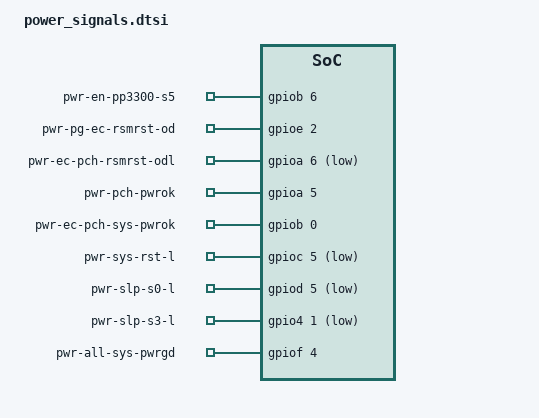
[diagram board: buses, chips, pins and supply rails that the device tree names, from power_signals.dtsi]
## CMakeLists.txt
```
# Copyright 2022 The ChromiumOS Authors
# Use of this source code is governed by a BSD-style license that can be
# found in the LICENSE file.

cmake_minimum_required(VERSION 3.20.5)
find_package(Zephyr REQUIRED HINTS "${ZEPHYR_BASE}")

zephyr_include_directories("${CMAKE_CURRENT_SOURCE_DIR}/include")
zephyr_library_sources_ifdef(CONFIG_AP_PWRSEQ "src/board_power.c")
zephyr_library_sources_ifdef(CONFIG_PLATFORM_EC_BATTERY "src/battery_present.c")
zephyr_library_sources_ifdef(CONFIG_BOARD_REX_USBC_CONFIG "src/usbc_config.c")
zephyr_library_sources_ifdef(CONFIG_PLATFORM_EC_USBC "src/usb_pd_policy.c")
if(DEFINED CONFIG_PLATFORM_EC_USB_PD_TBT_COMPAT_MODE)
  if(DEFINED CONFIG_PLATFORM_EC_USB_PD_ALT_MODE_UFP)
    zephyr_library_sources("src/usbc_tbt_compat.c")
  endif()
endif()

if(DEFINED CONFIG_BOARD_REX)
	project(rex)
	add_subdirectory(rex)
elseif(DEFINED CONFIG_BOARD_SCREEBO)
	project(screebo)
	add_subdirectory(screebo)
elseif(DEFINED CONFIG_BOARD_KANIX)
	project(kanix)
	add_subdirectory(kanix)
elseif(DEFINED CONFIG_BOARD_KARIS)
	project(karis)
	add_subdirectory(karis)
elseif(DEFINED CONFIG_BOARD_INTEL_ISH_5_6_0)
	project(rex-ish)
	add_subdirectory(rex-ish)
endif()
```

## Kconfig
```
# Copyright 2022 The ChromiumOS Authors
# Use of this source code is governed by a BSD-style license that can be
# found in the LICENSE file.

config BOARD_REX
	bool "Google Rex Baseboard"
	select BOARD_HAS_INVALID_CHIP_DEVICE_ID_WORKAROUND
	help
	  Build Google Rex reference board.  The board uses Nuvoton
	  NPCX9 chip as the EC.

config BOARD_SCREEBO
	bool "Google Screebo Board"
	select BOARD_HAS_INVALID_CHIP_DEVICE_ID_WORKAROUND
	help
	  Build Google Screebo variant board. The board uses Nuvoton
	  NPCX9 chip as the EC.

config BOARD_KARIS
	bool "Google Karis Board"
	help
	  Build Google Karis variant board. The board uses Nuvoton
	  NPCX9 chip as the EC.

config BOARD_REX_ISH_EC
	bool "Google rex-ish-ec Board"
	select BOARD_HAS_INVALID_CHIP_DEVICE_ID_WORKAROUND
	help
	  Build Google rex variant board; this board has motion sense
	  task removed; used on ISH enabled board.

config BOARD_HAS_INVALID_CHIP_DEVICE_ID_WORKAROUND
	bool
	help
	  Workaround the board of the Rex family which uses the sample chip
	  with the incorrect device ID.

config BOARD_REX_USBC_CONFIG
	bool "Rex board usbc configuration"
	default y
	help
	  Include baseboard rex usbc_config.c into binary. The usbc
	  usbc configuration is that TCPC C0 is NCT38XX and BC1.2
	  exists. Additionally, IOEX pins are defined.

module = REX
module-str = Rex board-specific code
source "subsys/logging/Kconfig.template.log_config"

source "Kconfig.zephyr"
```

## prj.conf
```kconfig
# Copyright 2022 The ChromiumOS Authors
# Use of this source code is governed by a BSD-style license that can be
# found in the LICENSE file.

CONFIG_PLATFORM_EC=y
CONFIG_CROS_EC=y
CONFIG_SHIMMED_TASKS=y
CONFIG_SYSCON=y
# Enable during development
CONFIG_LTO=n
CONFIG_PLATFORM_EC_SYSTEM_UNLOCKED=y
CONFIG_PLATFORM_EC_BOARD_RESET_AFTER_POWER_ON=y

# Shell Commands
CONFIG_SHELL_HELP=y
CONFIG_SHELL_HISTORY=y
CONFIG_SHELL_TAB=y
CONFIG_SHELL_TAB_AUTOCOMPLETION=y
CONFIG_KERNEL_SHELL=y

# Logging
CONFIG_LOG=y
CONFIG_LOG_MODE_MINIMAL=y

# Disable default features we don't want in a minimal example.
CONFIG_PLATFORM_EC_BACKLIGHT_LID=y
CONFIG_PLATFORM_EC_SWITCH=y
CONFIG_PLATFORM_EC_VBOOT_EFS2=y

# Application processor; communicates with EC via eSPI
CONFIG_AP=y
CONFIG_ESPI=y
CONFIG_PLATFORM_EC_HOST_INTERFACE_ESPI_VW_SLP_S3=y
CONFIG_PLATFORM_EC_HOST_INTERFACE_ESPI_VW_SLP_S4=y
CONFIG_PLATFORM_EC_HOST_INTERFACE_ESPI_VW_SLP_S5=y
CONFIG_PLATFORM_EC_HOSTCMD=y
# Disabling this until temp sensor support is in
CONFIG_PLATFORM_EC_THROTTLE_AP=n
CONFIG_PLATFORM_EC_PORT80=y

# Power Sequecing
CONFIG_AP_X86_INTEL_MTL=y
CONFIG_X86_NON_DSX_PWRSEQ_MTL=y
CONFIG_X86_NON_DSX_PWRSEQ_HOST_CMD=y
# TODO (b/240434243): This may be needed, but using eSPI VW for now
CONFIG_PLATFORM_EC_POWERSEQ_SLP_S3_L_OVERRIDE=n
CONFIG_PLATFORM_EC_POWERSEQ_PP5000_CONTROL=n

# Zephyr Inbuilt AP Power Sequencing Config
CONFIG_AP_PWRSEQ=y
CONFIG_X86_NON_DSX_PWRSEQ_CONSOLE=y
CONFIG_AP_PWRSEQ_S0IX=y

# I2C
CONFIG_PLATFORM_EC_HOSTCMD_I2C_CONTROL=y

# PWM
CONFIG_PWM=y

# Temperature sensors
CONFIG_SENSOR=y
CONFIG_PLATFORM_EC_TEMP_SENSOR=y
CONFIG_PLATFORM_EC_THERMISTOR=y
CONFIG_PLATFORM_EC_TEMP_SENSOR_POWER=y

# CBI EEPROM support
CONFIG_EEPROM=y
CONFIG_PLATFORM_EC_BOARD_VERSION_CBI=y
CONFIG_PLATFORM_EC_BYPASS_CBI_EEPROM_WP_CHECK=y

# LED
CONFIG_PLATFORM_EC_LED_DT=y

# Battery
CONFIG_PLATFORM_EC_BATTERY_SMART=y
CONFIG_PLATFORM_EC_BATTERY_FUEL_GAUGE=y
CONFIG_PLATFORM_EC_BATTERY_CUT_OFF=y
CONFIG_PLATFORM_EC_BATTERY_PRESENT_GPIO=y
CONFIG_PLATFORM_EC_BATTERY_REVIVE_DISCONNECT=y

# Charger
CONFIG_PLATFORM_EC_CHARGER_DISCHARGE_ON_AC=y
CONFIG_PLATFORM_EC_CHARGER_INPUT_CURRENT=512
CONFIG_PLATFORM_EC_CHARGER_ISL9241=y
CONFIG_PLATFORM_EC_CHARGER_SENSE_RESISTOR=5
CONFIG_PLATFORM_EC_CHARGER_SENSE_RESISTOR_AC=10
CONFIG_PLATFORM_EC_CHARGER_MIN_POWER_MW_FOR_POWER_ON=30000
CONFIG_PLATFORM_EC_CHARGER_MIN_POWER_MW_FOR_POWER_ON_WITH_BATT=15000

# USBC
CONFIG_PLATFORM_EC_USBC_PPC=y
CONFIG_PLATFORM_EC_USBC_PPC_NX20P3483=y
CONFIG_PLATFORM_EC_USBC_PPC_SYV682X=y
CONFIG_PLATFORM_EC_USBC_PPC_SYV682C=y
CONFIG_PLATFORM_EC_USBC_RETIMER_INTEL_HB=y
CONFIG_PLATFORM_EC_USBC_VCONN=y

CONFIG_PLATFORM_EC_USB_DRP_ACC_TRYSRC=y
CONFIG_PLATFORM_EC_USB_PD_VBUS_DETECT_TCPC=y
CONFIG_PLATFORM_EC_USB_PD_DISCHARGE_PPC=y
CONFIG_PLATFORM_EC_USB_PD_FRS=y
CONFIG_PLATFORM_EC_USB_PD_FRS_PPC=y
CONFIG_PLATFORM_EC_USB_PD_REV30=y
CONFIG_PLATFORM_EC_USB_PD_TCPC_LOW_POWER=y
CONFIG_PLATFORM_EC_USB_PD_TCPM_TCPCI=y
CONFIG_PLATFORM_EC_USB_PD_TCPM_NCT38XX=y
CONFIG_PLATFORM_EC_USB_PD_TCPM_PS8815=y
CONFIG_PLATFORM_EC_USB_PD_TRY_SRC=y
CONFIG_PLATFORM_EC_USB_PD_DUAL_ROLE_AUTO_TOGGLE=y
CONFIG_PLATFORM_EC_USB_PD_TBT_COMPAT_MODE=y
CONFIG_PLATFORM_EC_USB_PD_USB32_DRD=y
CONFIG_PLATFORM_EC_USB_PD_USB4=y
CONFIG_PLATFORM_EC_USB_PD_VBUS_MEASURE_CHARGER=y
CONFIG_PLATFORM_EC_USB_PID=0x504D

# BC 1.2
CONFIG_PLATFORM_EC_BC12_DETECT_PI3USB9201=y

#USB Mux
CONFIG_PLATFORM_EC_USB_MUX_VIRTUAL=y
CONFIG_PLATFORM_EC_USB_MUX_TASK=y

# External power
CONFIG_PLATFORM_EC_EXTPOWER_GPIO=y

# Standard shimmed features
CONFIG_PLATFORM_EC_POWER_BUTTON=y
CONFIG_PLATFORM_EC_LID_SWITCH=y

# Keyboard support
CONFIG_PLATFORM_EC_KEYBOARD_PROTOCOL_8042=y
# Column 2 is driven through the GSC, which inverts the signal going through it
CONFIG_PLATFORM_EC_KEYBOARD_COL2_INVERTED=y

# MKBP event
CONFIG_PLATFORM_EC_MKBP_EVENT=y
CONFIG_PLATFORM_EC_MKBP_INPUT_DEVICES=y
CONFIG_PLATFORM_EC_MKBP_USE_GPIO_AND_HOST_EVENT=y

# Sensors console command
CONFIG_PLATFORM_EC_CONSOLE_CMD_ACCELS=y
CONFIG_PLATFORM_EC_CONSOLE_CMD_ACCEL_INFO=y
CONFIG_PLATFORM_EC_CONSOLE_CMD_I2C_SPEED=y

# Sensors
CONFIG_SENSOR=y
CONFIG_SENSOR_SHELL=n
CONFIG_PLATFORM_EC_MOTIONSENSE=y
CONFIG_PLATFORM_EC_ACCEL_FIFO=y
CONFIG_PLATFORM_EC_DYNAMIC_MOTION_SENSOR_COUNT=y
CONFIG_PLATFORM_EC_GMR_TABLET_MODE=y
CONFIG_PLATFORM_EC_LID_ANGLE=y
CONFIG_PLATFORM_EC_LID_ANGLE_UPDATE=y
CONFIG_PLATFORM_EC_SENSOR_TIGHT_TIMESTAMPS=y
CONFIG_PLATFORM_EC_TABLET_MODE=y
CONFIG_PLATFORM_EC_TABLET_MODE_SWITCH=y

# Sensor Drivers
CONFIG_PLATFORM_EC_ACCELGYRO_LSM6DSO=y
CONFIG_PLATFORM_EC_ACCEL_LIS2DW12=y
CONFIG_PLATFORM_EC_ALS_TCS3400=y
```

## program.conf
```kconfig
# Copyright 2022 The ChromiumOS Authors
# Use of this source code is governed by a BSD-style license that can be
# found in the LICENSE file.

CONFIG_PLATFORM_EC=y
CONFIG_CROS_EC=y
CONFIG_SYSCON=y

# Shell Commands
CONFIG_SHELL_HELP=n
CONFIG_SHELL_HISTORY=y
CONFIG_SHELL_TAB=y
CONFIG_SHELL_TAB_AUTOCOMPLETION=y
CONFIG_KERNEL_SHELL=y

# Disable default features we don't want in a minimal example.
CONFIG_PLATFORM_EC_BACKLIGHT_LID=y
CONFIG_PLATFORM_EC_SWITCH=y
CONFIG_PLATFORM_EC_VBOOT_EFS2=y

# Application processor; communicates with EC via eSPI
CONFIG_AP=y
CONFIG_ESPI=y
CONFIG_PLATFORM_EC_HOST_INTERFACE_ESPI_VW_SLP_S4=y
CONFIG_PLATFORM_EC_HOST_INTERFACE_ESPI_VW_SLP_S5=y
CONFIG_PLATFORM_EC_HOSTCMD=y
CONFIG_HCDEBUG_OFF=y
# Disabling this until temp sensor support is in
CONFIG_PLATFORM_EC_THROTTLE_AP=n
CONFIG_PLATFORM_EC_PORT80=y

# Power Sequecing
CONFIG_AP_X86_INTEL_MTL=y
CONFIG_X86_NON_DSX_PWRSEQ_MTL=y
CONFIG_X86_NON_DSX_PWRSEQ_HOST_CMD=y
# TODO (b/240434243): This may be needed, but using eSPI VW for now
CONFIG_PLATFORM_EC_POWERSEQ_SLP_S3_L_OVERRIDE=n
CONFIG_PLATFORM_EC_POWERSEQ_PP5000_CONTROL=n

# Zephyr Inbuilt AP Power Sequencing Config
CONFIG_X86_NON_DSX_PWRSEQ_CONSOLE=y
CONFIG_AP_PWRSEQ_S0IX=y

# Disable driver mode because Rex was brought up without it and changing
# would be risky.
CONFIG_AP_PWRSEQ_DRIVER=n

# I2C
CONFIG_PLATFORM_EC_HOSTCMD_I2C_CONTROL=y

# Temperature sensors
CONFIG_PLATFORM_EC_TEMP_SENSOR_POWER=y

# Battery
CONFIG_PLATFORM_EC_BATTERY_FUEL_GAUGE=y
CONFIG_PLATFORM_EC_BATTERY_CUT_OFF=y
CONFIG_PLATFORM_EC_BATTERY_REVIVE_DISCONNECT=y
CONFIG_PLATFORM_EC_BATTERY_PRESENT_CUSTOM=y
CONFIG_PLATFORM_EC_BATTERY_HW_PRESENT_CUSTOM=y

# Charger
CONFIG_PLATFORM_EC_CHARGER_DISCHARGE_ON_AC=y
CONFIG_PLATFORM_EC_CHARGER_DEFAULT_CURRENT_LIMIT=512
CONFIG_PLATFORM_EC_CHARGER_ISL9241=y
CONFIG_PLATFORM_EC_CHARGER_SENSE_RESISTOR=5
CONFIG_PLATFORM_EC_CHARGER_SENSE_RESISTOR_AC=10
CONFIG_PLATFORM_EC_CHARGER_MIN_POWER_MW_FOR_POWER_ON=30000
CONFIG_PLATFORM_EC_CHARGER_MIN_POWER_MW_FOR_POWER_ON_WITH_BATT=15000

# USBC
CONFIG_PLATFORM_EC_USBC_PPC=y
CONFIG_PLATFORM_EC_USBC_PPC_SYV682C=y
# TODO(b/241340453): after FRS fixed, enable this config
CONFIG_PLATFORM_EC_USBC_PPC_SYV682X_SMART_DISCHARGE=n
CONFIG_PLATFORM_EC_USBC_VCONN=y

CONFIG_PLATFORM_EC_USB_DRP_ACC_TRYSRC=y
CONFIG_PLATFORM_EC_USB_PD_VBUS_DETECT_TCPC=y
CONFIG_PLATFORM_EC_USB_PD_DISCHARGE_PPC=y
CONFIG_PLATFORM_EC_USB_PD_FRS=y
CONFIG_PLATFORM_EC_USB_PD_FRS_PPC=y
CONFIG_PLATFORM_EC_USB_PD_LOGGING=y
CONFIG_PLATFORM_EC_USB_PD_REV30=y
CONFIG_PLATFORM_EC_USB_PD_TCPC_LOW_POWER=y
CONFIG_PLATFORM_EC_USB_PD_TCPM_PS8815=y
CONFIG_PLATFORM_EC_USB_PD_TRY_SRC=y
CONFIG_PLATFORM_EC_USB_PD_DUAL_ROLE_AUTO_TOGGLE=y
CONFIG_PLATFORM_EC_USB_PD_TBT_COMPAT_MODE=y
CONFIG_PLATFORM_EC_USB_PD_USB32_DRD=y
CONFIG_PLATFORM_EC_USB_PD_USB4=y
CONFIG_PLATFORM_EC_USB_PD_REQUIRE_AP_MODE_ENTRY=y
CONFIG_PLATFORM_EC_USB_PD_DATA_RESET_MSG=y
CONFIG_PLATFORM_EC_USB_PD_VBUS_MEASURE_CHARGER=y
CONFIG_PLATFORM_EC_USB_PID=0x504D

# USBC DP2.1
CONFIG_PLATFORM_EC_USB_PD_DP21_MODE=y

# USB Mux
CONFIG_PLATFORM_EC_USB_MUX_TASK=y

# External power
CONFIG_PLATFORM_EC_EXTPOWER_GPIO=y

# Standard shimmed features
CONFIG_PLATFORM_EC_POWER_BUTTON=y
CONFIG_PLATFORM_EC_LID_SWITCH=y

# Keyboard support
CONFIG_PLATFORM_EC_KEYBOARD_PROTOCOL_8042=y
# Column 2 is driven through the GSC, which inverts the signal going through it
CONFIG_PLATFORM_EC_KEYBOARD_COL2_INVERTED=y
CONFIG_PLATFORM_EC_VOLUME_BUTTONS=y

# MKBP event
CONFIG_PLATFORM_EC_MKBP_EVENT=y
CONFIG_PLATFORM_EC_MKBP_INPUT_DEVICES=y
CONFIG_PLATFORM_EC_MKBP_USE_GPIO_AND_HOST_EVENT=y

# Sensors console command
CONFIG_PLATFORM_EC_CONSOLE_CMD_ACCELS=y
CONFIG_PLATFORM_EC_CONSOLE_CMD_ACCEL_INFO=y
CONFIG_PLATFORM_EC_CONSOLE_CMD_I2C_SPEED=y

# Sensors
CONFIG_PLATFORM_EC_ACCEL_FIFO=y
CONFIG_PLATFORM_EC_DYNAMIC_MOTION_SENSOR_COUNT=y
CONFIG_PLATFORM_EC_GMR_TABLET_MODE=y
CONFIG_PLATFORM_EC_LID_ANGLE=y
CONFIG_PLATFORM_EC_LID_ANGLE_UPDATE=y
CONFIG_PLATFORM_EC_SENSOR_TIGHT_TIMESTAMPS=y
CONFIG_PLATFORM_EC_TABLET_MODE=y
CONFIG_PLATFORM_EC_TABLET_MODE_SWITCH=y

# Sensor Drivers
CONFIG_PLATFORM_EC_ACCEL_LIS2DW12=y

# System Boot Time
CONFIG_SYSTEM_BOOT_TIME_LOGGING=y

# Limit I2C pass-through to allowed busses/devices
CONFIG_PLATFORM_EC_I2C_PASSTHRU_RESTRICTED=y

# Upstream Zephyr Host Command
CONFIG_EC_HOST_CMD=y
```

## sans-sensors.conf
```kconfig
# Copyright 2023 The ChromiumOS Authors
# Use of this source code is governed by a BSD-style license that can be
# found in the LICENSE file.

# Sensors console command
CONFIG_PLATFORM_EC_CONSOLE_CMD_ACCELS=n
CONFIG_PLATFORM_EC_CONSOLE_CMD_ACCEL_INFO=n
CONFIG_PLATFORM_EC_CONSOLE_CMD_I2C_SPEED=n

# Sensors
CONFIG_PLATFORM_EC_MOTIONSENSE=n
CONFIG_PLATFORM_EC_ACCEL_FIFO=n
CONFIG_PLATFORM_EC_DYNAMIC_MOTION_SENSOR_COUNT=n
CONFIG_PLATFORM_EC_GMR_TABLET_MODE=n
CONFIG_PLATFORM_EC_LID_ANGLE=n
CONFIG_PLATFORM_EC_LID_ANGLE_UPDATE=n
CONFIG_PLATFORM_EC_SENSOR_TIGHT_TIMESTAMPS=n
CONFIG_PLATFORM_EC_TABLET_MODE=n
CONFIG_PLATFORM_EC_TABLET_MODE_SWITCH=n

# Sensor Drivers
CONFIG_PLATFORM_EC_ACCELGYRO_LSM6DSO=n
CONFIG_PLATFORM_EC_ACCEL_LIS2DW12=n
CONFIG_PLATFORM_EC_ALS_TCS3400=n
```

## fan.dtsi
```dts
/* Copyright 2022 The ChromiumOS Authors
 * Use of this source code is governed by a BSD-style license that can be
 * found in the LICENSE file.
 */

/ {
	fans {
		compatible = "cros-ec,fans";

		fan0: fan_0 {
			pwms = <&pwm5 0 PWM_KHZ(1) PWM_POLARITY_NORMAL>;
			rpm-min = <2200>;
			rpm-start = <2200>;
			rpm-max = <4200>;
			tach = <&tach1>;
			enable-gpio = <&gpio_en_pp5000_fan>;
		};
	};
};

&pwm5_gpb7 {
	drive-open-drain;
};
```

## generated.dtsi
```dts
/* Copyright 2023 The ChromiumOS Authors
 * Use of this source code is governed by a BSD-style license that can be
 * found in the LICENSE file.
 *
 * This file is auto-generated - do not edit!
 */

/ {

	named-adc-channels {
		compatible = "named-adc-channels";

		adc_temp_sensor_1: temp_sensor_1 {
			enum-name = "ADC_TEMP_SENSOR_1_DDR_SOC";
			io-channels = <&adc0 0>;
		};
		adc_temp_sensor_2: temp_sensor_2 {
			enum-name = "ADC_TEMP_SENSOR_2_AMBIENT";
			io-channels = <&adc0 1>;
		};
		adc_temp_sensor_3: temp_sensor_3 {
			enum-name = "ADC_TEMP_SENSOR_3_CHARGER";
			io-channels = <&adc0 8>;
		};
		adc_temp_sensor_4: temp_sensor_4 {
			enum-name = "ADC_TEMP_SENSOR_4_WWAN";
			io-channels = <&adc0 7>;
		};
	};

	named-gpios {
		compatible = "named-gpios";

		gpio_acok_od: acok_od {
			gpios = <&gpio0 0 GPIO_INPUT>;
			enum-name = "GPIO_AC_PRESENT";
		};
		gpio_ccd_mode_odl: ccd_mode_odl {
			gpios = <&gpioe 5 GPIO_INPUT>;
			enum-name = "GPIO_CCD_MODE_ODL";
		};
		gpio_cpu_c10_gate_l: cpu_c10_gate_l {
			gpios = <&gpioa 7 GPIO_INPUT>;
		};
		gpio_ec_accel_int_r_l: ec_accel_int_r_l {
			gpios = <&gpio8 1 GPIO_INPUT>;
		};
		gpio_ec_als_rgb_int_r_l: ec_als_rgb_int_r_l {
			gpios = <&gpiod 4 GPIO_INPUT_PULL_UP>;
		};
		gpio_ec_batt_pres_odl: ec_batt_pres_odl {
			gpios = <&gpioa 3 GPIO_INPUT>;
			enum-name = "GPIO_BATT_PRES_ODL";
		};
		gpio_ec_cbi_wp: ec_cbi_wp {
			gpios = <&gpio7 3 GPIO_OUTPUT>;
		};
		gpio_ec_edp_bl_en: ec_edp_bl_en {
			gpios = <&gpiod 3 GPIO_OUTPUT>;
			enum-name = "GPIO_ENABLE_BACKLIGHT";
		};
		gpio_ec_gsc_packet_mode: ec_gsc_packet_mode {
			gpios = <&gpio7 5 GPIO_OUTPUT>;
			enum-name = "GPIO_PACKET_MODE_EN";
		};
		gpio_ec_imu_int_r_l: ec_imu_int_r_l {
			gpios = <&gpio5 6 GPIO_INPUT_PULL_UP>;
		};
		gpio_ec_kb_bl_en_l: ec_kb_bl_en_l {
			gpios = <&gpio8 6 GPIO_OUTPUT>;
		};
		gpio_ec_kso_02_inv: ec_kso_02_inv {
			gpios = <&gpio1 7 (GPIO_OUTPUT | GPIO_ACTIVE_HIGH)>;
			enum-name = "GPIO_KBD_KSO2";
		};
		gpio_ec_mech_pwr_btn_l: ec_mech_pwr_btn_l {
			gpios = <&gpio0 2 GPIO_INPUT>;
			enum-name = "GPIO_POWER_BUTTON_L";
		};
		gpio_ec_prochot_in_l: ec_prochot_in_l {
			gpios = <&gpiof 0 GPIO_INPUT>;
		};
		gpio_ec_prochot_odl: ec_prochot_odl {
			gpios = <&gpio6 3 GPIO_ODR_HIGH>;
		};
		gpio_ec_rst_r_odl: ec_rst_r_odl {
			gpios = <&gpio7 7 GPIO_INPUT>;
		};
		gpio_ec_soc_int_odl: ec_soc_int_odl {
			gpios = <&gpio7 0 GPIO_ODR_LOW>;
			enum-name = "GPIO_EC_INT_L";
		};
		gpio_ec_soc_pwr_btn_odl: ec_soc_pwr_btn_odl {
			gpios = <&gpioc 1 GPIO_ODR_LOW>;
			enum-name = "GPIO_PCH_PWRBTN_L";
		};
		gpio_ec_soc_rsmrst_l: ec_soc_rsmrst_l {
			gpios = <&gpioa 6 GPIO_OUTPUT>;
		};
		gpio_ec_soc_rtcrst: ec_soc_rtcrst {
			gpios = <&gpio7 6 GPIO_ODR_HIGH>;
		};
		gpio_ec_soc_wake_r_odl: ec_soc_wake_r_odl {
			gpios = <&gpioc 0 GPIO_ODR_LOW>;
		};
		gpio_ec_spare_gpio01: ec_spare_gpio01 {
			gpios = <&gpio0 1 GPIO_INPUT_PULL_UP>;
		};
		gpio_ec_spare_gpio42: ec_spare_gpio42 {
			gpios = <&gpio4 2 GPIO_OUTPUT>;
		};
		gpio_ec_spare_gpio66: ec_spare_gpio66 {
			gpios = <&gpio6 6 GPIO_OUTPUT>;
		};
		gpio_ec_spare_gpio94: ec_spare_gpio94 {
			gpios = <&gpio9 4 GPIO_OUTPUT>;
		};
		gpio_ec_spare_gpioa2: ec_spare_gpioa2 {
			gpios = <&gpioa 2 GPIO_OUTPUT>;
		};
		gpio_ec_spare_gpioa4: ec_spare_gpioa4 {
			gpios = <&gpioa 4 GPIO_OUTPUT>;
		};
		gpio_ec_spare_gpiob1: ec_spare_gpiob1 {
			gpios = <&gpiob 1 GPIO_OUTPUT>;
		};
		gpio_ec_spare_gpioc7: ec_spare_gpioc7 {
			gpios = <&gpioc 7 GPIO_OUTPUT>;
		};
		gpio_ec_spare_gpo32: ec_spare_gpo32 {
			gpios = <&gpio3 2 GPIO_OUTPUT>;
		};
		gpio_ec_spare_gpo35: ec_spare_gpo35 {
			gpios = <&gpio3 5 GPIO_OUTPUT>;
		};
		gpio_ec_voldn_btn_odl: ec_voldn_btn_odl {
			gpios = <&gpio9 3 GPIO_INPUT_PULL_UP>;
			enum-name = "GPIO_VOLUME_DOWN_L";
		};
		gpio_ec_volup_btn_odl: ec_volup_btn_odl {
			gpios = <&gpio9 7 GPIO_INPUT_PULL_UP>;
			enum-name = "GPIO_VOLUME_UP_L";
		};
		gpio_ec_wp_l: ec_wp_l {
			gpios = <&gpioa 1 (GPIO_INPUT | GPIO_ACTIVE_LOW)>;
		};
		gpio_en_pp5000_fan: en_pp5000_fan {
			gpios = <&gpio6 1 GPIO_OUTPUT>;
		};
		gpio_en_pp5000_usba_r: en_pp5000_usba_r {
			gpios = <&gpiod 7 GPIO_OUTPUT>;
		};
		gpio_en_s5_rails: en_s5_rails {
			gpios = <&gpiob 6 GPIO_ODR_HIGH>;
			enum-name = "GPIO_TEMP_SENSOR_POWER";
		};
		gpio_en_z1_rails: en_z1_rails {
			gpios = <&gpio8 5 GPIO_OUTPUT>;
		};
		gpio_imvp92_vrrdy_od: imvp92_vrrdy_od {
			gpios = <&gpio4 3 GPIO_INPUT>;
		};
		gpio_led_1_l: led_1_l {
			gpios = <&gpioc 4 GPIO_OUTPUT>;
		};
		gpio_led_2_l: led_2_l {
			gpios = <&gpioc 3 GPIO_OUTPUT>;
		};
		gpio_led_3_l: led_3_l {
			gpios = <&gpioc 2 GPIO_OUTPUT>;
		};
		gpio_led_4_l: led_4_l {
			gpios = <&gpio6 0 GPIO_OUTPUT>;
		};
		gpio_lid_open: lid_open {
			gpios = <&gpiod 2 GPIO_INPUT>;
			enum-name = "GPIO_LID_OPEN";
		};
		gpio_seq_ec_all_sys_pg_od: seq_ec_all_sys_pg_od {
			gpios = <&gpiof 4 GPIO_INPUT>;
		};
		gpio_seq_ec_rsmrst_odl: seq_ec_rsmrst_odl {
			gpios = <&gpioe 2 GPIO_INPUT>;
		};
		gpio_slp_s3_ls_l: slp_s3_ls_l {
			gpios = <&gpio4 1 GPIO_INPUT>;
		};
		gpio_sochot_odl: sochot_odl {
			gpios = <&gpio9 6 GPIO_INPUT>;
		};
		gpio_soc_pwrok: soc_pwrok {
			gpios = <&gpioa 5 GPIO_OUTPUT>;
		};
		gpio_sys_pwrok: sys_pwrok {
			gpios = <&gpiob 0 GPIO_OUTPUT>;
		};
		gpio_sys_rst_odl: sys_rst_odl {
			gpios = <&gpioc 5 GPIO_INPUT>;
		};
		gpio_sys_slp_s0ix_3v3_l: sys_slp_s0ix_3v3_l {
			gpios = <&gpiod 5 GPIO_INPUT>;
		};
		gpio_tablet_mode_l: tablet_mode_l {
			gpios = <&gpio9 5 GPIO_INPUT_PULL_UP>;
			enum-name = "GPIO_TABLET_MODE_L";
		};
		gpio_usb_c0_bc12_int_odl: usb_c0_bc12_int_odl {
			gpios = <&gpioc 6 GPIO_INPUT>;
			enum-name = "GPIO_USB_C0_BC12_INT_ODL";
		};
		gpio_usb_c0_ppc_int_odl: usb_c0_ppc_int_odl {
			gpios = <&gpio6 2 GPIO_INPUT>;
			enum-name = "GPIO_USB_C0_PPC_INT_ODL";
		};
		gpio_usb_c0_rt_3p3_sx_en: usb_c0_rt_3p3_sx_en {
			gpios = <&gpio0 3 GPIO_ODR_LOW>;
		};
		gpio_usb_c0_rt_int_odl: usb_c0_rt_int_odl {
			gpios = <&gpioa 0 GPIO_INPUT>;
		};
		gpio_usb_c0_tcpc_int_odl: usb_c0_tcpc_int_odl {
			gpios = <&gpioe 0 (GPIO_INPUT | GPIO_ACTIVE_LOW)>;
			enum-name = "GPIO_USB_C0_TCPC_INT_ODL";
		};
		gpio_usb_c0_tcpc_rst_odl: usb_c0_tcpc_rst_odl {
			gpios = <&gpio6 7 GPIO_ODR_HIGH>;
		};
		gpio_usb_c1_bc12_int_odl: usb_c1_bc12_int_odl {
			gpios = <&gpio5 0 GPIO_INPUT>;
			enum-name = "GPIO_USB_C1_BC12_INT_ODL";
		};
		gpio_usb_c1_frs_en: usb_c1_frs_en {
			gpios = <&gpio8 3 GPIO_ODR_HIGH>;
		};
		gpio_usb_c1_ppc_int_odl: usb_c1_ppc_int_odl {
			gpios = <&gpiof 5 GPIO_INPUT>;
			enum-name = "GPIO_USB_C1_PPC_INT_ODL";
		};
		gpio_usb_c1_rst_odl: usb_c1_rst_odl {
			gpios = <&gpio3 7 GPIO_ODR_LOW>;
		};
		gpio_usb_c1_rt_int_odl: usb_c1_rt_int_odl {
			gpios = <&gpio7 2 GPIO_INPUT_PULL_UP>;
		};
		gpio_usb_c1_rt_rst_r_odl: usb_c1_rt_rst_r_odl {
			gpios = <&gpio7 4 GPIO_ODR_HIGH>;
		};
		gpio_usb_c1_tcpc_int_odl: usb_c1_tcpc_int_odl {
			gpios = <&gpio3 4 (GPIO_INPUT | GPIO_ACTIVE_LOW)>;
			enum-name = "GPIO_USB_C1_TCPC_INT_ODL";
		};
	};

	named-i2c-ports {
		compatible = "named-i2c-ports";

		i2c_ec_i2c_sensor_scl_r: ec_i2c_sensor_scl_r {
			i2c-port = <&i2c0_0>;
			enum-names = "I2C_PORT_SENSOR";
		};
		i2c_ec_i2c_usb_c0_tcp: ec_i2c_usb_c0_tcp {
			i2c-port = <&i2c1_0>;
			enum-names = "I2C_PORT_USB_C0_TCPC";
		};
		i2c_ec_i2c_usb_c0_ppc_b: ec_i2c_usb_c0_ppc_b {
			i2c-port = <&i2c2_0>;
			enum-names = "I2C_PORT_PPC0";
		};
		i2c_ec_i2c_usb_c0_rt: ec_i2c_usb_c0_rt {
			i2c-port = <&i2c3_0>;
			enum-names = "I2C_PORT_USB_C0_RT";
		};
		i2c_ec_i2c_usb_c1_tcp: ec_i2c_usb_c1_tcp {
			i2c-port = <&i2c4_1>;
			enum-names = "I2C_PORT_USB_C1_TCPC";
		};
		i2c_ec_i2c_bat: ec_i2c_bat {
			i2c-port = <&i2c5_0>;
			enum-names = "I2C_PORT_BATTERY";
		};
		i2c_ec_i2c_usb_c1_mix: ec_i2c_usb_c1_mix {
			i2c-port = <&i2c6_1>;
			enum-names = "I2C_PORT_USB_1_MIX";
		};
		i2c_ec_i2c_mi: ec_i2c_mi {
			i2c-port = <&i2c7_0>;
			enum-names = "I2C_PORT_EEPROM";
		};
	};
};

&adc0 {
	status = "okay";
};

&i2c0_0 {
	status = "okay";
};

&i2c1_0 {
	status = "okay";
};

&i2c2_0 {
	status = "okay";
};

&i2c3_0 {
	status = "okay";
};

&i2c4_1 {
	status = "okay";
};

&i2c5_0 {
	status = "okay";
};

&i2c6_1 {
	status = "okay";
};

&i2c7_0 {
	status = "okay";
};

&i2c_ctrl0 {
	status = "okay";
};

&i2c_ctrl1 {
	status = "okay";
};

&i2c_ctrl2 {
	status = "okay";
};

&i2c_ctrl3 {
	status = "okay";
};

&i2c_ctrl4 {
	status = "okay";
};

&i2c_ctrl5 {
	status = "okay";
};

&i2c_ctrl6 {
	status = "okay";
};

&i2c_ctrl7 {
	status = "okay";
};
```

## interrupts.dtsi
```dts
/* Copyright 2022 The ChromiumOS Authors
 * Use of this source code is governed by a BSD-style license that can be
 * found in the LICENSE file.
 */

/ {
	gpio-interrupts {
		compatible = "cros-ec,gpio-interrupts";

		int_ac_present: ac_present {
			irq-pin = <&gpio_acok_od>;
			flags = <GPIO_INT_EDGE_BOTH>;
			handler = "extpower_interrupt";
		};
		int_power_button: power_button {
			irq-pin = <&gpio_ec_mech_pwr_btn_l>;
			flags = <GPIO_INT_EDGE_BOTH>;
			handler = "power_button_interrupt";
		};
		int_lid_open: lid_open {
			irq-pin = <&gpio_lid_open>;
			flags = <GPIO_INT_EDGE_BOTH>;
			handler = "lid_interrupt";
		};
		int_usb_c0_sbu_fault: c0_sbu_fault {
			irq-pin = <&ioex_usb_c0_sbu_fault_odl>;
			flags = <GPIO_INT_EDGE_FALLING>;
			handler = "sbu_fault_interrupt";
		};
		int_usb_c0_bc12: usb_c0_bc12 {
			irq-pin = <&gpio_usb_c0_bc12_int_odl>;
			flags = <GPIO_INT_EDGE_FALLING>;
			handler = "bc12_interrupt";
		};
		int_usb_c1_bc12: usb_c1_bc12 {
			irq-pin = <&gpio_usb_c1_bc12_int_odl>;
			flags = <GPIO_INT_EDGE_FALLING>;
			handler = "bc12_interrupt";
		};
		int_imu: ec_imu {
			irq-pin = <&gpio_ec_imu_int_r_l>;
			flags = <GPIO_INT_EDGE_FALLING>;
			handler = "lsm6dso_interrupt";
		};
		int_als_rgb: ec_als_rgb {
			irq-pin = <&gpio_ec_als_rgb_int_r_l>;
			flags = <GPIO_INT_EDGE_FALLING>;
			handler = "tcs3400_interrupt";
		};
		int_accel: ec_accel {
			irq-pin = <&gpio_ec_accel_int_r_l>;
			flags = <GPIO_INT_EDGE_FALLING>;
			handler = "lis2dw12_interrupt";
		};
		int_volume_up: volume_up {
			irq-pin = <&gpio_ec_volup_btn_odl>;
			flags = <GPIO_INT_EDGE_BOTH>;
			handler = "button_interrupt";
		};
		int_volume_down: volume_down {
			irq-pin = <&gpio_ec_voldn_btn_odl>;
			flags = <GPIO_INT_EDGE_BOTH>;
			handler = "button_interrupt";
		};
		int_nb_mode: nb_mode {
			irq-pin = <&gpio_soc_ec_ish_nb_mode>;
			flags = <GPIO_INT_EDGE_BOTH>;
			handler = "nb_mode_interrupt";
		};
	};
};

/* Required node label that doesn't is named differently on Rex */
gpio_ec_pch_wake_odl: &gpio_ec_soc_wake_r_odl {};
```

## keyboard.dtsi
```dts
/* Copyright 2022 The ChromiumOS Authors
 * Use of this source code is governed by a BSD-style license that can be
 * found in the LICENSE file.
 */

#include <zephyr/dt-bindings/input/keymap.h>

/ {
	chosen {
		cros-ec,keyboard = &kbd;
	};

	kblight: kblight {
		compatible = "cros-ec,kblight-pwm";
		pwms = <&pwm3 0 PWM_HZ(2400) PWM_POLARITY_NORMAL>;
	};
};

&kbd_config_0 {
        vivaldi-codes = <
		VIVALDI_TK_HOME              /* T1 */
		VIVALDI_TK_DONOTDISTURB      /* T2 */
		VIVALDI_TK_REFRESH           /* T3 */
		VIVALDI_TK_FULLSCREEN        /* T4 */
		VIVALDI_TK_OVERVIEW          /* T5 */
		VIVALDI_TK_BRIGHTNESS_DOWN   /* T6 */
		VIVALDI_TK_BRIGHTNESS_UP     /* T7 */
		VIVALDI_TK_VOL_MUTE          /* T8 */
		VIVALDI_TK_VOL_DOWN          /* T9 */
		VIVALDI_TK_VOL_UP            /* T10 */
	>;

	capabilities = <(VIVALDI_KEYBD_CAP_FUNCTION_KEYS | VIVALDI_KEYBD_CAP_SCRNLOCK_KEY)>;
};

&kbd {
	/* Experimental: only used for testing with the upstream keyboard
	 * driver.
	 */
	status = "okay";
	pinctrl-0 = <
		&ksi0_gp31 /* KSI0 PIN31 */
		&ksi1_gp30 /* KSI1 PIN30 */
		&ksi2_gp27 /* KSI2 PIN27 */
		&ksi3_gp26 /* KSI3 PIN26 */
		&ksi4_gp25 /* KSI4 PIN25 */
		&ksi5_gp24 /* KSI5 PIN24 */
		&ksi6_gp23 /* KSI6 PIN23 */
		&ksi7_gp22 /* KSI7 PIN22 */
		&kso00_gp21 /* KSO00 PIN21 */
		&kso01_gp20 /* KSO01 PIN20 */
		&kso03_gp16 /* KSO03 PIN16 */
		&kso04_gp15 /* KSO04 PIN15 */
		&kso05_gp14 /* KSO05 PIN14 */
		&kso06_gp13 /* KSO06 PIN13 */
		&kso07_gp12 /* KSO07 PIN12 */
		&kso08_gp11 /* KSO08 PIN11 */
		&kso09_gp10 /* KSO09 PIN10 */
		&kso10_gp07 /* KSO10 PIN07 */
		&kso11_gp06 /* KSO11 PIN06 */
		&kso12_gp05 /* KSO12 PIN05 */
	>;
	pinctrl-1 = <
		&ksi0_gpio_gp31
		&ksi1_gpio_gp30
		&ksi2_gpio_gp27
		&ksi3_gpio_gp26
		&ksi4_gpio_gp25
		&ksi5_gpio_gp24
		&ksi6_gpio_gp23
		&ksi7_gpio_gp22
		&kso00_gpio_gp21
		&kso01_gpio_gp20
		&kso03_gpio_gp16
		&kso04_gpio_gp15
		&kso05_gpio_gp14
		&kso06_gpio_gp13
		&kso07_gpio_gp12
		&kso08_gpio_gp11
		&kso09_gpio_gp10
		&kso10_gpio_gp07
		&kso11_gpio_gp06
		&kso12_gpio_gp05
	>;
	pinctrl-names = "default", "sleep";
	row-size = <8>;
	col-size = <13>;

	kso-gpio {
		compatible = "cros-ec,col-gpio";
		col-num = <2>;
		col-gpios = <&gpio1 7 GPIO_ACTIVE_HIGH>;
	};

	boot_keys: boot-keys {
		compatible = "cros-ec,boot-keys";
		down-arrow-rc = <KBD_RC(6, 11)>;
		esc-rc = <KBD_RC(1, 1)>;
		left-shift-rc = <KBD_RC(5, 7)>;
		refresh-rc = <KBD_RC(2, 2)>;
	};

	runtime-keys {
		compatible = "cros-ec,runtime-keys";
		left-alt-rc = <KBD_RC(0, 10)>;
		right-alt-rc = <KBD_RC(6, 10)>;
		h-rc = <KBD_RC(1, 6)>;
		r-rc = <KBD_RC(7, 3)>;
		vol-up-rc = <KBD_RC(0, 4)>;
	};

	factory-test {
		compatible = "cros-ec,keyboard-factory-test";

		/* 1 nc */
		/* 2 nc */
		/* 3 nc */
		/* 4 nc */
		/* 5 nc */
		/* 6 nc */
		pin7-gpios = <&gpio3 0 GPIO_ACTIVE_HIGH>;
		pin8-gpios = <&gpio2 2 GPIO_ACTIVE_HIGH>;
		pin9-gpios = <&gpio2 3 GPIO_ACTIVE_HIGH>;
		pin10-gpios = <&gpio1 2 GPIO_ACTIVE_HIGH>;
		pin11-gpios = <&gpio2 5 GPIO_ACTIVE_HIGH>;
		pin12-gpios = <&gpio2 4 GPIO_ACTIVE_HIGH>;
		pin13-gpios = <&gpio2 1 GPIO_ACTIVE_HIGH>;
		pin14-gpios = <&gpio2 7 GPIO_ACTIVE_HIGH>;
		pin15-gpios = <&gpio2 6 GPIO_ACTIVE_HIGH>;
		pin16-gpios = <&gpio1 5 GPIO_ACTIVE_HIGH>;
		pin17-gpios = <&gpio2 0 GPIO_ACTIVE_HIGH>;
		pin18-gpios = <&gpio3 1 GPIO_ACTIVE_HIGH>;
		pin19-gpios = <&gpio1 7 GPIO_ACTIVE_HIGH>;
		pin20-gpios = <&gpio1 6 GPIO_ACTIVE_HIGH>;
		/* 21 nc */
		pin22-gpios = <&gpio1 3 GPIO_ACTIVE_HIGH>;
		pin23-gpios = <&gpio1 4 GPIO_ACTIVE_HIGH>;
		/* 24 nc */
		/* 25 nc */
		pin26-gpios = <&gpio0 7 GPIO_ACTIVE_HIGH>;
		pin27-gpios = <&gpio0 6 GPIO_ACTIVE_HIGH>;
		pin28-gpios = <&gpio1 0 GPIO_ACTIVE_HIGH>;
		pin29-gpios = <&gpio1 1 GPIO_ACTIVE_HIGH>;
		pin30-gpios = <&gpio0 5 GPIO_ACTIVE_HIGH>;
	};

	#if 0
	fn-keys {
		compatible = "cros-ec,fn-keys";

		fn-rc = <KBD_RC(2, 0)>;
		keymap = <
			MATRIX_KEY(1, 1, KBD_SCANCODE_F1)
			MATRIX_KEY(0, 2, KBD_SCANCODE_F2)
			MATRIX_KEY(3, 2, KBD_SCANCODE_F3)
			MATRIX_KEY(2, 2, KBD_SCANCODE_F4)
			MATRIX_KEY(1, 2, KBD_SCANCODE_F5)
			MATRIX_KEY(3, 4, KBD_SCANCODE_F6)
			MATRIX_KEY(2, 4, KBD_SCANCODE_F7)
			MATRIX_KEY(1, 4, KBD_SCANCODE_F8)
			MATRIX_KEY(2, 9, KBD_SCANCODE_F9)
			MATRIX_KEY(1, 9, KBD_SCANCODE_F10)
			MATRIX_KEY(0, 4, KBD_SCANCODE_F11)
			MATRIX_KEY(3, 9, KBD_SCANCODE_F12)

			MATRIX_KEY(0, 1, KBD_SCANCODE_CAPSLOCK)
		>;
	};
	#endif
};
```

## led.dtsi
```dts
/* Copyright 2022 The ChromiumOS Authors
 * Use of this source code is governed by a BSD-style license that can be
 * found in the LICENSE file.
 */

/ {
	gpio-led-pins {
		compatible = "cros-ec,gpio-led-pins";

		color_off: color-off {
			led-color = "LED_OFF";
			led-id = "EC_LED_ID_BATTERY_LED";
			led-pins = <&gpio_led_1_l &gpio_led_2_l>;
			led-values = <1 1>;
		};

		color_white: color-white {
			led-color = "LED_WHITE";
			led-id = "EC_LED_ID_BATTERY_LED";
			br-color = "EC_LED_COLOR_WHITE";
			led-pins = <&gpio_led_1_l &gpio_led_2_l>;
			led-values = <1 0>;
		};

		color_amber: color-amber {
			led-color = "LED_AMBER";
			led-id = "EC_LED_ID_BATTERY_LED";
			br-color = "EC_LED_COLOR_AMBER";
			led-pins = <&gpio_led_1_l &gpio_led_2_l>;
			led-values = <0 1>;
		};
	};

	led-colors {
		compatible = "cros-ec,led-policy";

		power-state-charge {
			charge-state = "PWR_STATE_CHARGE";

			color-0 {
				led-color = <&color_amber>;
			};
		};

		power-state-discharge-s0 {
			charge-state = "PWR_STATE_DISCHARGE";
			chipset-state = "POWER_S0";

			color-0 {
				led-color = <&color_off>;
			};
		};

		power-state-discharge-s3 {
			charge-state = "PWR_STATE_DISCHARGE";
			chipset-state = "POWER_S3";

			/* White 1 sec, off 3 sec */
			color-0 {
				led-color = <&color_white>;
				period-ms = <1000>;
			};
			color-1 {
				led-color = <&color_off>;
				period-ms = <3000>;
			};
		};

		power-state-discharge-s5 {
			charge-state = "PWR_STATE_DISCHARGE";
			chipset-state = "POWER_S5";

			color-0 {
				led-color = <&color_off>;
			};
		};

		power-state-error {
			charge-state = "PWR_STATE_ERROR";

			/* White 1 sec, off 1 sec */
			color-0 {
				led-color = <&color_white>;
				period-ms = <1000>;
			};
			color-1 {
				led-color = <&color_off>;
				period-ms = <1000>;
			};
		};

		power-state-near-full {
			charge-state = "PWR_STATE_CHARGE_NEAR_FULL";

			color-0 {
				led-color = <&color_white>;
			};
		};

		power-state-forced-idle {
			charge-state = "PWR_STATE_FORCED_IDLE";

			/* White 2 sec, Amber 2 sec */
			color-0 {
				led-color = <&color_white>;
				period-ms = <2000>;
			};
			color-1 {
				led-color = <&color_amber>;
				period-ms = <2000>;
			};
		};

		power-state-idle-default {
			charge-state = "PWR_STATE_IDLE";

			color-0 {
				led-color = <&color_white>;
			};
		};
	};
};
```

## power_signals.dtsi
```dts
/* Copyright 2022 The ChromiumOS Authors
 * Use of this source code is governed by a BSD-style license that can be
 * found in the LICENSE file.
 */

/ {
	chosen {
		intel-ap-pwrseq,espi = &espi0;
	};

	common-pwrseq {
		compatible = "intel,ap-pwrseq";

		sys-pwrok-delay = <3>;
		all-sys-pwrgd-timeout = <20>;
	};

	pwr-en-pp3300-s5 {
		compatible = "intel,ap-pwrseq-gpio";
		dbg-label = "PP1800_S5/PP3300_S5 enable output to LS";
		enum-name = "PWR_EN_PP3300_A";
		gpios = <&gpiob 6 GPIO_ACTIVE_HIGH>;
		output;
	};
	pwr-pg-ec-rsmrst-od {
		compatible = "intel,ap-pwrseq-gpio";
		dbg-label = "RSMRST power good from regulator";
		enum-name = "PWR_RSMRST_PWRGD";
		gpios = <&gpioe 2 GPIO_ACTIVE_HIGH>;
		interrupt-flags = <GPIO_INT_EDGE_BOTH>;
	};
	pwr-ec-pch-rsmrst-odl {
		compatible = "intel,ap-pwrseq-gpio";
		dbg-label = "RSMRST output to PCH";
		enum-name = "PWR_EC_PCH_RSMRST";
		gpios = <&gpioa 6 GPIO_ACTIVE_LOW>;
		reset-val = <1>;
		output;
	};
	pwr-pch-pwrok {
		compatible = "intel,ap-pwrseq-gpio";
		dbg-label = "PCH_PWROK output to PCH";
		enum-name = "PWR_PCH_PWROK";
		gpios = <&gpioa 5 GPIO_ACTIVE_HIGH>;
		output;
	};
	pwr-ec-pch-sys-pwrok {
		compatible = "intel,ap-pwrseq-gpio";
		dbg-label = "SYS_PWROK output to PCH";
		enum-name = "PWR_EC_PCH_SYS_PWROK";
		gpios = <&gpiob 0 GPIO_ACTIVE_HIGH>;
		output;
	};
	pwr-sys-rst-l {
		compatible = "intel,ap-pwrseq-gpio";
		dbg-label = "SYS_RESET# output to PCH";
		enum-name = "PWR_SYS_RST";
		gpios = <&gpioc 5 (GPIO_ACTIVE_LOW | GPIO_OPEN_DRAIN)>;
		output;
	};
	pwr-slp-s0-l {
		compatible = "intel,ap-pwrseq-gpio";
		dbg-label = "SLP_S0_L input from PCH";
		enum-name = "PWR_SLP_S0";
		gpios = <&gpiod 5 GPIO_ACTIVE_LOW>;
		interrupt-flags = <GPIO_INT_EDGE_BOTH>;
	};
	pwr-slp-s3-l {
		compatible = "intel,ap-pwrseq-gpio";
		dbg-label = "SLP_S3_L input from PCH";
		enum-name = "PWR_SLP_S3";
		gpios = <&gpio4 1 GPIO_ACTIVE_LOW>;
		interrupt-flags = <GPIO_INT_EDGE_BOTH>;
	};
	pwr-slp-s4 {
		compatible = "intel,ap-pwrseq-vw";
		dbg-label = "SLP_S4 virtual wire input from PCH";
		enum-name = "PWR_SLP_S4";
		virtual-wire = "ESPI_VWIRE_SIGNAL_SLP_S4";
		reset-val = <1>;
		vw-invert;
	};
	pwr-slp-s5 {
		compatible = "intel,ap-pwrseq-vw";
		dbg-label = "SLP_S5 virtual wire input from PCH";
		enum-name = "PWR_SLP_S5";
		virtual-wire = "ESPI_VWIRE_SIGNAL_SLP_S5";
		reset-val = <1>;
		vw-invert;
	};
	pwr-all-sys-pwrgd {
		compatible = "intel,ap-pwrseq-gpio";
		dbg-label = "all power good";
		enum-name = "PWR_ALL_SYS_PWRGD";
		gpios = <&gpiof 4 (GPIO_ACTIVE_HIGH | GPIO_PULL_UP)>;
		interrupt-flags = <GPIO_INT_EDGE_BOTH>;
	};

	ap-power {
		compatible = "ap-pwrseq-sub-states";
		chipset = "S0ix";
	};
};

/*
 * Because the power signals directly reference the GPIOs,
 * the corresponding named-gpios need to have no-auto-init set.
 */
 /* pwr-en-pp3300-s5 */
&gpio_en_s5_rails {
	no-auto-init;
};

/* pwr-pg-ec-rsmrst-od */
&gpio_seq_ec_rsmrst_odl {
	no-auto-init;
};

/* pwr-ec-pch-rsmrst-odl */
&gpio_ec_soc_rsmrst_l_r {
	no-auto-init;
};

/* pwr-pch-pwrok */
&gpio_soc_pwrok_r {
	no-auto-init;
};

/* pwr-ec-pch-sys-pwrok */
&gpio_sys_pwrok {
	no-auto-init;
};

/* pwr-sys-rst-l */
&gpio_sys_rst_odl {
	no-auto-init;
};

/* pwr-slp-s0-l */
&gpio_sys_slp_s0ix_3v3_l {
	no-auto-init;
};

/* pwr-slp-s3-l */
&gpio_slp_s3_ls_l {
	no-auto-init;
};

/* pwr-all-sys-pwrgd */
&gpio_seq_ec_all_sys_pg_od {
	no-auto-init;
};
```

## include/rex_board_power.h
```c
/* Copyright 2023 The ChromiumOS Authors
 * Use of this source code is governed by a BSD-style license that can be
 * found in the LICENSE file.
 */

#ifndef __CROS_EC_REX_REX_BOARD_POWER_H__
#define __CROS_EC_REX_REX_BOARD_POWER_H__

#include "common.h"

#include <ap_power/ap_power.h>

/*
 * Functions executed when AP resume change.
 *
 * A board should override this function if it has different functions
 * need to be executed when AP resume change.
 */
__override_proto void board_resume_change(struct ap_power_ev_callback *,
					  struct ap_power_ev_data);

#endif /* __CROS_EC_REX_REX_BOARD_POWER_H__ */
```

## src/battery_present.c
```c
/* Copyright 2023 The ChromiumOS Authors
 * Use of this source code is governed by a BSD-style license that can be
 * found in the LICENSE file.
 */
#include "battery.h"

#include <zephyr/drivers/gpio.h>

/*
 * Physical detection of battery.
 */
static enum battery_present rex_battery_hw_present(void)
{
	const struct gpio_dt_spec *batt_pres;

	batt_pres = GPIO_DT_FROM_NODELABEL(gpio_ec_batt_pres_odl);

	/* The GPIO is low when the battery is physically present */
	return gpio_pin_get_dt(batt_pres) ? BP_NO : BP_YES;
}

enum battery_present battery_is_present(void)
{
	enum battery_present batt_pres;

	if (battery_is_cut_off())
		return BP_NO;

	/* Get the physical hardware status */
	batt_pres = rex_battery_hw_present();

	return batt_pres;
}
```

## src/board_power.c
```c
/* Copyright 2022 The ChromiumOS Authors
 * Use of this source code is governed by a BSD-style license that can be
 * found in the LICENSE file.
 */

#include "gpio/gpio.h"
#include "gpio_signal.h"
#include "system_boot_time.h"

#include <zephyr/drivers/gpio.h>
#include <zephyr/logging/log.h>

#include <ap_power/ap_power.h>
#include <ap_power/ap_power_events.h>
#include <ap_power/ap_power_interface.h>
#include <ap_power_override_functions.h>
#include <power_signals.h>
#include <x86_power_signals.h>

#ifdef CONFIG_AP_PWRSEQ_DRIVER
#include "ap_power/ap_pwrseq_sm.h"
#endif

LOG_MODULE_DECLARE(ap_pwrseq, LOG_LEVEL_INF);

#if defined(CONFIG_X86_NON_DSX_PWRSEQ_MTL) || \
	defined(CONFIG_TEST_X86_NON_DSX_PWRSEQ_MTL)
#define X86_NON_DSX_MTL_FORCE_SHUTDOWN_TO_MS 50

void board_ap_power_force_shutdown(void)
{
	int timeout_ms = X86_NON_DSX_MTL_FORCE_SHUTDOWN_TO_MS;

	/* Assert PCH_RMSRST to meet tPCH12 */
	power_signal_set(PWR_EC_PCH_RSMRST, 1);

	/* Turn off PRIM load switch. */
	power_signal_set(PWR_EN_PP3300_A, 0);

	/* Wait RSMRST_PWRGD to de-assert. */
	while (power_signal_get(PWR_RSMRST_PWRGD) && (timeout_ms > 0)) {
		k_msleep(1);
		timeout_ms--;
	};

	if (power_signal_get(PWR_RSMRST_PWRGD)) {
		LOG_WRN("RSMRST_PWRGD still asserted!  Assuming G3.");
	}
}

#ifndef CONFIG_AP_PWRSEQ_DRIVER
void board_ap_power_action_g3_s5(void)
{
	/* Turn on the PP3300_PRIM rail. */
	power_signal_set(PWR_EN_PP3300_A, 1);

	update_ap_boot_time(ARAIL);

	if (!power_wait_signals_on_timeout(
		    POWER_SIGNAL_MASK(PWR_RSMRST_PWRGD),
		    AP_PWRSEQ_DT_VALUE(wait_signal_timeout))) {
		ap_power_ev_send_callbacks(AP_POWER_PRE_INIT);
	}
}

bool board_ap_power_check_power_rails_enabled(void)
{
	return power_signal_get(PWR_EN_PP3300_A);
}
#else
int board_ap_power_action_g3_entry(void *data)
{
	board_ap_power_force_shutdown();

	return 0;
}

static int board_ap_power_action_g3_run(void *data)
{
	if (ap_pwrseq_sm_is_event_set(data, AP_PWRSEQ_EVENT_POWER_STARTUP)) {
		/* Turn on the PP3300_PRIM rail. */
		power_signal_set(PWR_EN_PP3300_A, 1);
	}

	if (!power_signal_get(PWR_EN_PP3300_A)) {
		return 1;
	}

	return 0;
}

AP_POWER_APP_STATE_DEFINE(G3, board_ap_power_action_g3_entry,
			  board_ap_power_action_g3_run, NULL);
#endif /* CONFIG_AP_PWRSEQ_DRIVER */
#endif /* CONFIG_X86_NON_DSX_PWRSEQ_MTL */
```

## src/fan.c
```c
/* Copyright 2022 The ChromiumOS Authors
 * Use of this source code is governed by a BSD-style license that can be
 * found in the LICENSE file.
 */

#include "cros_cbi.h"
#include "fan.h"
#include "gpio/gpio.h"
#include "hooks.h"

#include <zephyr/devicetree.h>
#include <zephyr/drivers/gpio.h>
#include <zephyr/logging/log.h>

LOG_MODULE_DECLARE(rex, CONFIG_REX_LOG_LEVEL);

/*
 * Rex fan support
 */
static void fan_init(void)
{
	int ret;
	uint32_t val;
	/*
	 * Retrieve the fan config.
	 */
	ret = cros_cbi_get_fw_config(FW_FAN, &val);
	if (ret != 0) {
		LOG_ERR("Error retrieving CBI FW_CONFIG field %d", FW_FAN);
		return;
	}

	if (val == FW_FAN_NOT_PRESENT) {
		/* Disable the fan */
		fan_set_count(0);
		return;
	}
}
DECLARE_HOOK(HOOK_INIT, fan_init, HOOK_PRIO_POST_FIRST);
```

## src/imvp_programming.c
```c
/* Copyright 2023 The ChromiumOS Authors
 * Use of this source code is governed by a BSD-style license that can be
 * found in the LICENSE file.
 */

#include "i2c.h"
#include "console.h"
#include <zephyr/logging/log.h>

#define CPRINTF(format, args...) cprintf(CC_COMMAND, format, ## args)
#define CPRINTS(format, args...) cprints(CC_COMMAND, format, ## args)

#define I2C_PORT_IMVP	I2C_PORT_EEPROM

#define I2C_ADDR_IMVP	0x20

struct imvp_t {
	uint8_t reg;
	uint8_t data;
};

static const struct imvp_t imvp_ctrl1[] = {
	{0xFC, 0x01}, /* Unlock I2C control */
	{0xF1, 0x24}, /* Enable F/W update mode */
	{0xF1, 0x54},
	{0xF1, 0x02},
	{0xEF, 0x82}, /* Set to page to function set */
};

static const struct imvp_t imvp_fw[] = {
	{0x00, 0x80},
	{0x01, 0x80},
	{0x02, 0x80},
	{0x03, 0x00},
	{0x04, 0x00},
	{0x05, 0x28},
	{0x06, 0x61},
	{0x07, 0x10},
	{0x08, 0x00},
	{0x09, 0x0F},
	{0x0A, 0x20},

	{0x10, 0x5D},
	{0x11, 0x22},
	{0x12, 0x26},
	{0x13, 0x23},
	{0x14, 0x01},
	{0x15, 0x22},
	{0x16, 0x32},
	{0x17, 0xFF},
	{0x18, 0x08},
	{0x19, 0x20},
	{0x1A, 0x52},
	{0x1B, 0x51},
	{0x1C, 0xCC},
	{0x1D, 0x59},
	{0x1E, 0x41},
	{0x1F, 0x0A},

	{0x20, 0x16},
	{0x21, 0x0D},

	{0x30, 0xA1},
	{0x31, 0xA1},
	{0x32, 0xA1},
	{0x33, 0xA1},
	{0x34, 0xA1},
	{0x35, 0xA1},

	{0x7D, 0x01},

	{0x90, 0x92},
	{0x91, 0x48},
	{0x92, 0x26},
	{0x93, 0x9B},
	{0x94, 0x12},
	{0x95, 0x48},
	{0x96, 0xC0},
	{0x97, 0x92},
	{0x98, 0x00},
	{0x99, 0x7B},
	{0x9A, 0x12},
	{0x9B, 0xC0},
	{0x9C, 0x07},
};

static const struct imvp_t imvp_fw_proto[] = {
	{0x00, 0x80},
	{0x01, 0xA0},
	{0x02, 0x80},
	{0x03, 0x01},
	{0x04, 0x02},
	{0x05, 0x02},
	{0x06, 0x61},
	{0x07, 0x10},
	{0x08, 0x00},
	{0x09, 0x0F},
	{0x0A, 0x10},

	{0x10, 0x5E},
	{0x11, 0x22},
	{0x12, 0x26},
	{0x13, 0x23},
	{0x14, 0x03},
	{0x15, 0x33},
	{0x16, 0x4A},
	{0x17, 0xF8},
	{0x18, 0x18},
	{0x19, 0x20},
	{0x1A, 0x50},
	{0x1B, 0x51},
	{0x1C, 0xCC},
	{0x1D, 0x19},
	{0x1E, 0x41},
	{0x1F, 0x12},

	{0x20, 0x16},
	{0x21, 0x05},

	{0x30, 0xA1},
	{0x31, 0xA1},
	{0x32, 0xA1},
	{0x33, 0xA1},
	{0x34, 0xA1},
	{0x35, 0xA1},

	{0x7D, 0x01},

	{0x90, 0x92},
	{0x91, 0x48},
	{0x92, 0x24},
	{0x93, 0x7B},
	{0x94, 0x12},
	{0x95, 0x48},
	{0x96, 0xC0},
	{0x97, 0x92},
	{0x98, 0x00},
	{0x99, 0x7B},
	{0x9A, 0x12},
	{0x9B, 0xC0},
	{0x9C, 0x07},
};

static const struct imvp_t imvp_fw_evt[] = {
        {0x00, 0x80},
        {0x01, 0xF0},
        {0x02, 0x80},
        {0x03, 0x01},
        {0x04, 0x02},
        {0x05, 0x02},
        {0x06, 0x61},
        {0x07, 0x10},
        {0x08, 0x00},
        {0x09, 0x0F},
        {0x0A, 0x10},

        {0x10, 0x48},
        {0x11, 0x02},
        {0x12, 0x28},
        {0x13, 0x23},
        {0x14, 0x03},
        {0x15, 0x33},
        {0x16, 0x44},
        {0x17, 0x78},
        {0x18, 0x08},
        {0x19, 0x20},
        {0x1A, 0x50},
        {0x1B, 0xFF},
        {0x1C, 0xFF},
        {0x1D, 0x19},
        {0x1E, 0x41},
        {0x1F, 0x12},

        {0x20, 0x16},
        {0x21, 0x05},

        {0x30, 0xA1},
        {0x31, 0xA1},
        {0x32, 0xA1},
        {0x33, 0xA1},
        {0x34, 0xA1},
        {0x35, 0xA1},

        {0x7D, 0x01},

        {0x90, 0x92},
        {0x91, 0x48},
        {0x92, 0x24},
        {0x93, 0x7B},
        {0x94, 0x12},
        {0x95, 0x48},
        {0x96, 0xC0},
        {0x97, 0x92},
        {0x98, 0x00},
        {0x99, 0x7B},
        {0x9A, 0x12},
        {0x9B, 0xC0},
        {0x9C, 0x07},
};

static const struct imvp_t imvp_ctrl2[] = {
	{0xEF, 0x80}, /* Set page to SVID */
};

static const struct imvp_t imvp_ctrl3[] = {
	{0xED, 0xAA}, /* Store data in NVM GROUP 1*/
};

static const struct imvp_t imvp_ctrl4[] = {
	{0xED, 0x55}, /* Store data in NVM Group 0*/
};

static const struct imvp_t imvp_ctrl5[] = {
	{0xF1, 0x00}, /* Exit F/W update mode */
	{0xF1, 0xFF},
};

static int imvp_write(uint8_t reg, uint8_t val)
{
	int rv;
	int data = val;

	rv = i2c_write8(I2C_PORT_IMVP, I2C_ADDR_IMVP, reg, data);

	CPRINTF("writing reg=0x%x val=0x%x, rv=%d\n", reg, val, rv);
	return rv;
}

static int imvp_read(uint8_t reg, uint8_t *val)
{
	int rv;
	int data = 0;

	rv = i2c_read8(I2C_PORT_IMVP, I2C_ADDR_IMVP, reg, &data);

	*val = (uint8_t) data;
	CPRINTF("Read reg=0x%x val=0x%x, rv=%d\n", reg, *val, rv);
	return rv;
}

static int console_command_imvp_w_proto(int argc, const char **argv)
{
	uint8_t i;

	/* Enable F/W update control */
	for (i = 0; i < ARRAY_SIZE(imvp_ctrl1); i++)
		imvp_write(imvp_ctrl1[i].reg, imvp_ctrl1[i].data);

	/* Write data */
	for (i = 0; i < ARRAY_SIZE(imvp_fw_proto); i++)
		imvp_write(imvp_fw_proto[i].reg, imvp_fw_proto[i].data);

	/* Store data to NVM Group 1 */
	for (i = 0; i < ARRAY_SIZE(imvp_ctrl3); i++)
		imvp_write(imvp_ctrl3[i].reg, imvp_ctrl3[i].data);

	/* sleep 800 ms for programming */
	k_msleep(800);

	/* Store data to NVM Group 0 */
	for (i = 0; i < ARRAY_SIZE(imvp_ctrl4); i++)
		imvp_write(imvp_ctrl4[i].reg, imvp_ctrl4[i].data);

	/* sleep 800 ms for programming */
	k_msleep(800);

	/* Return page to default */
        for (i = 0; i < ARRAY_SIZE(imvp_ctrl2); i++)
		imvp_write(imvp_ctrl2[i].reg, imvp_ctrl2[i].data);

	/* Exit F/W update mode */
	for (i = 0; i < ARRAY_SIZE(imvp_ctrl5); i++)
		imvp_write(imvp_ctrl5[i].reg, imvp_ctrl5[i].data);

	CPRINTF("IMVP f/w update SUCCESS\n");
	return EC_SUCCESS;
}
DECLARE_CONSOLE_COMMAND(imvp_w_proto, console_command_imvp_w_proto,
			NULL, "F/W update IMVP");

static int console_command_imvp_w_evt(int argc, const char **argv)
{
	uint8_t i;

	/* Enable F/W update control */
	for (i = 0; i < ARRAY_SIZE(imvp_ctrl1); i++)
		imvp_write(imvp_ctrl1[i].reg, imvp_ctrl1[i].data);

	/* Write data */
	for (i = 0; i < ARRAY_SIZE(imvp_fw_evt); i++)
		imvp_write(imvp_fw_evt[i].reg, imvp_fw_evt[i].data);

	/* Store data to NVM Group 1 */
	for (i = 0; i < ARRAY_SIZE(imvp_ctrl3); i++)
		imvp_write(imvp_ctrl3[i].reg, imvp_ctrl3[i].data);

	/* sleep 800 ms for programming */
	k_msleep(800);

	/* Store data to NVM Group 0 */
	for (i = 0; i < ARRAY_SIZE(imvp_ctrl4); i++)
		imvp_write(imvp_ctrl4[i].reg, imvp_ctrl4[i].data);

	/* sleep 800 ms for programming */
	k_msleep(800);

	/* Return page to default */
        for (i = 0; i < ARRAY_SIZE(imvp_ctrl2); i++)
		imvp_write(imvp_ctrl2[i].reg, imvp_ctrl2[i].data);

	/* Exit F/W update mode */
	for (i = 0; i < ARRAY_SIZE(imvp_ctrl5); i++)
		imvp_write(imvp_ctrl5[i].reg, imvp_ctrl5[i].data);

	CPRINTF("IMVP f/w update SUCCESS\n");
	return EC_SUCCESS;
}
DECLARE_CONSOLE_COMMAND(imvp_w_evt, console_command_imvp_w_evt,
			NULL, "F/W update IMVP");

static int console_command_imvp_r(int argc, const char **argv)
{
	uint8_t i, val, err = 0;

	/* Enable F/W update control */
	for (i = 0; i < ARRAY_SIZE(imvp_ctrl1); i++)
		imvp_write(imvp_ctrl1[i].reg, imvp_ctrl1[i].data);

	/* Read data */
	for (i = 0; i < ARRAY_SIZE(imvp_fw); i++) {
		imvp_read(imvp_fw[i].reg, &val);
		if (val != imvp_fw[i].data)
			err++;
	}

	/* Set page to SVID */
	for (i = 0; i < ARRAY_SIZE(imvp_ctrl2); i++)
		imvp_write(imvp_ctrl2[i].reg, imvp_ctrl2[i].data);

	/* Exit F/W update mode */
	for (i = 0; i < ARRAY_SIZE(imvp_ctrl5); i++)
		imvp_write(imvp_ctrl5[i].reg, imvp_ctrl5[i].data);

	CPRINTF("IMVP f/w update %s\n", err == 0x00 ? "SUCCESS" : "FAIL");
	return EC_SUCCESS;
}
DECLARE_CONSOLE_COMMAND(imvp_r, console_command_imvp_r,
			NULL, "F/W update IMVP");
```

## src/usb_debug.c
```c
#include "hooks.h"

extern int command_i2ctrace_enable(int port, int addr_lo, int addr_hi);

static void trace_usb_c0(void)
{
	command_i2ctrace_enable(1, 0x70, 0x70);
}

DECLARE_HOOK(HOOK_INIT, trace_usb_c0, HOOK_PRIO_POST_I2C);
```
